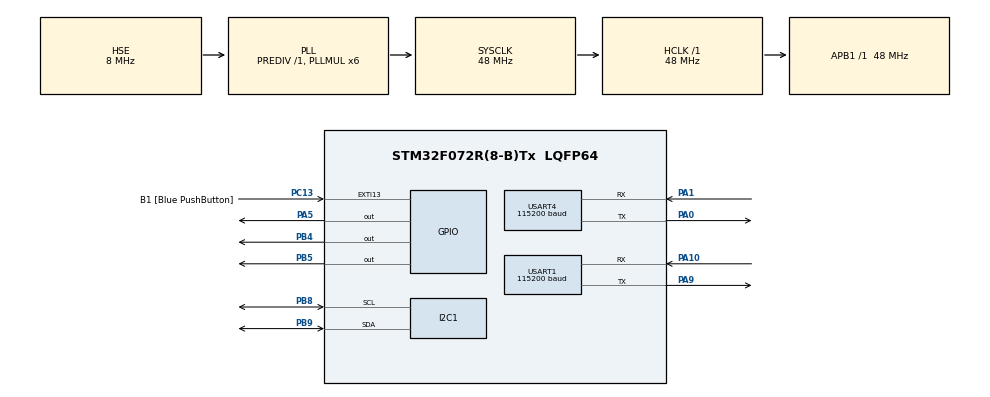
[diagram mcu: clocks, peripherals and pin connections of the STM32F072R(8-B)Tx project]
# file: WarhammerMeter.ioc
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Mcu.Family=STM32F0
Mcu.Name=STM32F072R(8-B)Tx
Mcu.Package=LQFP64
NVIC.TIM7_IRQn=true\:0\:0\:false\:false\:true\:true\:true
NVIC.USART1_IRQn=true\:0\:0\:false\:false\:true\:true\:true
NVIC.USART3_4_IRQn=true\:0\:0\:false\:false\:true\:true\:true
PA0.Mode=Asynchronous
PA0.Signal=USART4_TX
PA1.Mode=Asynchronous
PA1.Signal=USART4_RX
PA10.Mode=Asynchronous
PA10.Signal=USART1_RX
PA13.GPIO_Label=TMS
PA13.Mode=Serial_Wire
PA13.Signal=SYS_SWDIO
PA14.GPIO_Label=TCK
PA14.Mode=Serial_Wire
PA14.Signal=SYS_SWCLK
PA2.Signal=USART2_TX
PA3.Signal=USART2_RX
PA5.PinState=GPIO_PIN_RESET
PA5.Signal=GPIO_Output
PA9.Mode=Asynchronous
PA9.Signal=USART1_TX
PB4.Signal=GPIO_Output
PB5.Signal=GPIO_Output
PB8.Mode=I2C
PB8.Signal=I2C1_SCL
PB9.Mode=I2C
PB9.Signal=I2C1_SDA
PC13.GPIO_Label=B1 [Blue PushButton]
PC13.GPIO_ModeDefaultEXTI=GPIO_MODE_IT_FALLING
PC13.Signal=GPXTI13
PC14-OSC32_IN.Signal=RCC_OSC32_IN
PC15-OSC32_OUT.Signal=RCC_OSC32_OUT
PF0-OSC_IN.Mode=HSE-External-Oscillator
PF0-OSC_IN.Signal=RCC_OSC_IN
PF1-OSC_OUT.Mode=HSE-External-Oscillator
PF1-OSC_OUT.Signal=RCC_OSC_OUT
ProjectManager.HeapSize=0x200
ProjectManager.StackSize=0x400
ProjectManager.TargetToolchain=TrueSTUDIO
RCC.AHBFreq_Value=48000000
RCC.APB1Freq_Value=48000000
RCC.APB1TimFreq_Value=48000000
RCC.FLatency-AdvancedSettings=FLASH_LATENCY_1
RCC.HCLKFreq_Value=48000000
RCC.PLLMUL=RCC_PLL_MUL6
RCC.PLLSourceVirtual=RCC_PLLSOURCE_HSE
RCC.PREFETCH_ENABLE-AdvancedSettings=1
RCC.SYSCLKFreq_VALUE=48000000
RCC.SYSCLKSource=RCC_SYSCLKSOURCE_PLLCLK
TIM7.AutoReloadPreload=TIM_AUTORELOAD_PRELOAD_DISABLE
TIM7.Period=9999
TIM7.Prescaler=9999
USART1.BaudRate=115200
USART1.VirtualMode-Asynchronous=VM_ASYNC
USART1.WordLength=WORDLENGTH_8B
USART4.BaudRate=115200
USART4.VirtualMode-Asynchronous=VM_ASYNC
USART4.WordLength=WORDLENGTH_8B
VP_TIM7_VS_ClockSourceINT.Mode=Enable_Timer
board=NUCLEO-F072RB

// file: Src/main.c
/* USER CODE BEGIN Header */
/**
  ******************************************************************************
  * @file           : main.c
  * @brief          : Main program body
  ******************************************************************************
  * @attention
  *
  * <h2><center>&copy; Copyright (c) 2019 STMicroelectronics.
  * All rights reserved.</center></h2>
  *
  * This software component is licensed by ST under BSD 3-Clause license,
  * the "License"; You may not use this file except in compliance with the
  * License. You may obtain a copy of the License at:
  *                        opensource.org/licenses/BSD-3-Clause
  *
  ******************************************************************************
  */
/* USER CODE END Header */

#include "main.h"

I2C_HandleTypeDef hi2c1;

TIM_HandleTypeDef htim7;

UART_HandleTypeDef huart1;
UART_HandleTypeDef huart4;

/* USER CODE BEGIN PV */
uint8_t Received1 = 0x00;
uint8_t Received2 = 0x00;
unsigned char buffer[8];      // buffer to put string
int uartslower = 0;

/* USER CODE END PV */

void SystemClock_Config(void);
static void MX_GPIO_Init(void);
static void MX_I2C1_Init(void);
static void MX_USART1_UART_Init(void);
static void MX_TIM7_Init(void);
static void MX_USART4_UART_Init(void);
/* USER CODE BEGIN PFP */

void HAL_TIM_PeriodElapsedCallback(TIM_HandleTypeDef *htim) {

	  itoa(Received1, buffer, 10);    // make the string
	  lcd_send_cmd(0x01);
	  lcd_send_cmd(0x80);
	  lcd_send_cmd(0x14);
	  lcd_send_cmd(0x14);
	  lcd_send_string (buffer);

}

void HAL_UART_RxCpltCallback(UART_HandleTypeDef *huart) {

 if(huart->Instance == USART1){
	 if(Received1 != 0x00){
		 HAL_GPIO_TogglePin(GPIOA, GPIO_PIN_5);
	 }
 }
 if(huart->Instance == USART4){
	 if(Received2 != 0x00){

	 }
 }

 if(huart->Instance == USART1){

	 HAL_UART_Receive_IT(&huart1, &Received1, 8); // Ponowne w³¹czenie nas³uchiwania
 }
 if(huart->Instance == USART4){

	 HAL_UART_Receive_IT(&huart4, &Received2, 8); // Ponowne w³¹czenie nas³uchiwania
 }

}

/* USER CODE END PFP */

/* USER CODE BEGIN 0 */
void lcd_send_cmd (char cmd)
   {
        char data_u, data_l;
	uint8_t data_t[4];
	data_u = cmd&0xf0;    // select only upper nibble
	data_l = (cmd<<4)&0xf0;    // select only lower nibble
	data_t[0] = data_u|0x04;  //en=1, rs=0
	data_t[1] = data_u;  //en=0, rs=0
	data_t[2] = data_l|0x04;  //en=1, rs=0
	data_t[3] = data_l;  //en=0, rs=0
	HAL_I2C_Master_Transmit (&hi2c1, 0x4E, (uint8_t *) data_t, 4, 100);
   }

void lcd_send_data (char data)
{
	char data_u, data_l;
	uint8_t data_t[4];
	data_u = data&0xf0;    // upper data nibble
	data_l = (data<<4)&0xf0;    // lower data nibble
	data_t[0] = data_u|0x05;  //en=1, rs=0
	data_t[1] = data_u|0x01;  //en=0, rs=0
	data_t[2] = data_l|0x05;  //en=1, rs=0
	data_t[3] = data_l|0x09;  //en=0, rs=0 //bylo 01
	HAL_I2C_Master_Transmit (&hi2c1, 0x4E,(uint8_t *) data_t, 4, 100);
}

void lcd_init (void)
{

	lcd_send_cmd (0x02);
	lcd_send_cmd (0x28);
	lcd_send_cmd (0x0C);
	lcd_send_cmd (0x80);
}

void lcd_send_string (char *str)
{
	while (*str) lcd_send_data (*str++);
}
/* USER CODE END 0 */

int main(void)
{

  /* MCU Configuration--------------------------------------------------------*/

  /* Reset of all peripherals, Initializes the Flash interface and the Systick. */
  HAL_Init();

  /* Configure the system clock */
  SystemClock_Config();

  /* Initialize all configured peripherals */
  MX_GPIO_Init();
  MX_I2C1_Init();
  MX_USART1_UART_Init();
  MX_TIM7_Init();
  MX_USART4_UART_Init();
  /* USER CODE BEGIN 2 */
  lcd_init ();
  HAL_TIM_Base_Start_IT(&htim7);
 HAL_UART_Receive_IT(&huart1, &Received1, 8); // W³¹czenie nas³uchiwania
 HAL_UART_Receive_IT(&huart4, &Received2, 8); // W³¹czenie nas³uchiwania

  if(HAL_I2C_IsDeviceReady(&hi2c1,0x4E,2,10) == HAL_OK) // DIODA LD2 Swieci sie przy dobrze skonfigurowanym I2C
  {
	  //HAL_GPIO_TogglePin(GPIOA, GPIO_PIN_5);
	  HAL_GPIO_TogglePin(GPIOB, GPIO_PIN_4);
	  HAL_GPIO_TogglePin(GPIOB, GPIO_PIN_5);

  }

  /* USER CODE END 2 */

  /* Infinite loop */
  while (1)
  {

  }
}

void SystemClock_Config(void)
{
  RCC_OscInitTypeDef RCC_OscInitStruct = {0};
  RCC_ClkInitTypeDef RCC_ClkInitStruct = {0};
  RCC_PeriphCLKInitTypeDef PeriphClkInit = {0};

  /** Initializes the CPU, AHB and APB busses clocks
  */
  RCC_OscInitStruct.OscillatorType = RCC_OSCILLATORTYPE_HSI|RCC_OSCILLATORTYPE_HSE;
  RCC_OscInitStruct.HSEState = RCC_HSE_ON;
  RCC_OscInitStruct.HSIState = RCC_HSI_ON;
  RCC_OscInitStruct.HSICalibrationValue = RCC_HSICALIBRATION_DEFAULT;
  RCC_OscInitStruct.PLL.PLLState = RCC_PLL_ON;
  RCC_OscInitStruct.PLL.PLLSource = RCC_PLLSOURCE_HSE;
  RCC_OscInitStruct.PLL.PLLMUL = RCC_PLL_MUL6;
  RCC_OscInitStruct.PLL.PREDIV = RCC_PREDIV_DIV1;
  if (HAL_RCC_OscConfig(&RCC_OscInitStruct) != HAL_OK)
  {
    Error_Handler();
  }
  /** Initializes the CPU, AHB and APB busses clocks
  */
  RCC_ClkInitStruct.ClockType = RCC_CLOCKTYPE_HCLK|RCC_CLOCKTYPE_SYSCLK
                              |RCC_CLOCKTYPE_PCLK1;
  RCC_ClkInitStruct.SYSCLKSource = RCC_SYSCLKSOURCE_PLLCLK;
  RCC_ClkInitStruct.AHBCLKDivider = RCC_SYSCLK_DIV1;
  RCC_ClkInitStruct.APB1CLKDivider = RCC_HCLK_DIV1;

  if (HAL_RCC_ClockConfig(&RCC_ClkInitStruct, FLASH_LATENCY_1) != HAL_OK)
  {
    Error_Handler();
  }
  PeriphClkInit.PeriphClockSelection = RCC_PERIPHCLK_USART1|RCC_PERIPHCLK_I2C1;
  PeriphClkInit.Usart1ClockSelection = RCC_USART1CLKSOURCE_PCLK1;
  PeriphClkInit.I2c1ClockSelection = RCC_I2C1CLKSOURCE_HSI;
  if (HAL_RCCEx_PeriphCLKConfig(&PeriphClkInit) != HAL_OK)
  {
    Error_Handler();
  }
}

static void MX_I2C1_Init(void)
{

  hi2c1.Instance = I2C1;
  hi2c1.Init.Timing = 0x2000090E;
  hi2c1.Init.OwnAddress1 = 0;
  hi2c1.Init.AddressingMode = I2C_ADDRESSINGMODE_7BIT;
  hi2c1.Init.DualAddressMode = I2C_DUALADDRESS_DISABLE;
  hi2c1.Init.OwnAddress2 = 0;
  hi2c1.Init.OwnAddress2Masks = I2C_OA2_NOMASK;
  hi2c1.Init.GeneralCallMode = I2C_GENERALCALL_DISABLE;
  hi2c1.Init.NoStretchMode = I2C_NOSTRETCH_DISABLE;
  if (HAL_I2C_Init(&hi2c1) != HAL_OK)
  {
    Error_Handler();
  }
  /** Configure Analogue filter
  */
  if (HAL_I2CEx_ConfigAnalogFilter(&hi2c1, I2C_ANALOGFILTER_ENABLE) != HAL_OK)
  {
    Error_Handler();
  }
  /** Configure Digital filter
  */
  if (HAL_I2CEx_ConfigDigitalFilter(&hi2c1, 0) != HAL_OK)
  {
    Error_Handler();
  }

}

static void MX_TIM7_Init(void)
{

  TIM_MasterConfigTypeDef sMasterConfig = {0};

  htim7.Instance = TIM7;
  htim7.Init.Prescaler = 9999;
  htim7.Init.CounterMode = TIM_COUNTERMODE_UP;
  htim7.Init.Period = 9999;
  htim7.Init.AutoReloadPreload = TIM_AUTORELOAD_PRELOAD_DISABLE;
  if (HAL_TIM_Base_Init(&htim7) != HAL_OK)
  {
    Error_Handler();
  }
  sMasterConfig.MasterOutputTrigger = TIM_TRGO_RESET;
  sMasterConfig.MasterSlaveMode = TIM_MASTERSLAVEMODE_DISABLE;
  if (HAL_TIMEx_MasterConfigSynchronization(&htim7, &sMasterConfig) != HAL_OK)
  {
    Error_Handler();
  }

}

static void MX_USART1_UART_Init(void)
{

  huart1.Instance = USART1;
  huart1.Init.BaudRate = 115200;
  huart1.Init.WordLength = UART_WORDLENGTH_8B;
  huart1.Init.StopBits = UART_STOPBITS_1;
  huart1.Init.Parity = UART_PARITY_NONE;
  huart1.Init.Mode = UART_MODE_TX_RX;
  huart1.Init.HwFlowCtl = UART_HWCONTROL_NONE;
  huart1.Init.OverSampling = UART_OVERSAMPLING_16;
  huart1.Init.OneBitSampling = UART_ONE_BIT_SAMPLE_DISABLE;
  huart1.AdvancedInit.AdvFeatureInit = UART_ADVFEATURE_NO_INIT;
  if (HAL_UART_Init(&huart1) != HAL_OK)
  {
    Error_Handler();
  }

}

static void MX_USART4_UART_Init(void)
{

  huart4.Instance = USART4;
  huart4.Init.BaudRate = 115200;
  huart4.Init.WordLength = UART_WORDLENGTH_8B;
  huart4.Init.StopBits = UART_STOPBITS_1;
  huart4.Init.Parity = UART_PARITY_NONE;
  huart4.Init.Mode = UART_MODE_TX_RX;
  huart4.Init.HwFlowCtl = UART_HWCONTROL_NONE;
  huart4.Init.OverSampling = UART_OVERSAMPLING_16;
  huart4.Init.OneBitSampling = UART_ONE_BIT_SAMPLE_DISABLE;
  huart4.AdvancedInit.AdvFeatureInit = UART_ADVFEATURE_NO_INIT;
  if (HAL_UART_Init(&huart4) != HAL_OK)
  {
    Error_Handler();
  }

}

static void MX_GPIO_Init(void)
{
  GPIO_InitTypeDef GPIO_InitStruct = {0};

  /* GPIO Ports Clock Enable */
  __HAL_RCC_GPIOC_CLK_ENABLE();
  __HAL_RCC_GPIOF_CLK_ENABLE();
  __HAL_RCC_GPIOA_CLK_ENABLE();
  __HAL_RCC_GPIOB_CLK_ENABLE();

  /*Configure GPIO pin Output Level */
  HAL_GPIO_WritePin(GPIOA, GPIO_PIN_5, GPIO_PIN_RESET);

  /*Configure GPIO pin Output Level */
  HAL_GPIO_WritePin(GPIOB, GPIO_PIN_4|GPIO_PIN_5, GPIO_PIN_RESET);

  /*Configure GPIO pin : B1_Pin */
  GPIO_InitStruct.Pin = B1_Pin;
  GPIO_InitStruct.Mode = GPIO_MODE_IT_FALLING;
  GPIO_InitStruct.Pull = GPIO_NOPULL;
  HAL_GPIO_Init(B1_GPIO_Port, &GPIO_InitStruct);

  /*Configure GPIO pins : PA2 PA3 */
  GPIO_InitStruct.Pin = GPIO_PIN_2|GPIO_PIN_3;
  GPIO_InitStruct.Mode = GPIO_MODE_AF_PP;
  GPIO_InitStruct.Pull = GPIO_NOPULL;
  GPIO_InitStruct.Speed = GPIO_SPEED_FREQ_HIGH;
  GPIO_InitStruct.Alternate = GPIO_AF1_USART2;
  HAL_GPIO_Init(GPIOA, &GPIO_InitStruct);

  /*Configure GPIO pin : PA5 */
  GPIO_InitStruct.Pin = GPIO_PIN_5;
  GPIO_InitStruct.Mode = GPIO_MODE_OUTPUT_PP;
  GPIO_InitStruct.Pull = GPIO_NOPULL;
  GPIO_InitStruct.Speed = GPIO_SPEED_FREQ_LOW;
  HAL_GPIO_Init(GPIOA, &GPIO_InitStruct);

  /*Configure GPIO pins : PB4 PB5 */
  GPIO_InitStruct.Pin = GPIO_PIN_4|GPIO_PIN_5;
  GPIO_InitStruct.Mode = GPIO_MODE_OUTPUT_PP;
  GPIO_InitStruct.Pull = GPIO_NOPULL;
  GPIO_InitStruct.Speed = GPIO_SPEED_FREQ_LOW;
  HAL_GPIO_Init(GPIOB, &GPIO_InitStruct);

}

void Error_Handler(void)
{
}

/************************ (C) COPYRIGHT STMicroelectronics *****END OF FILE****/
